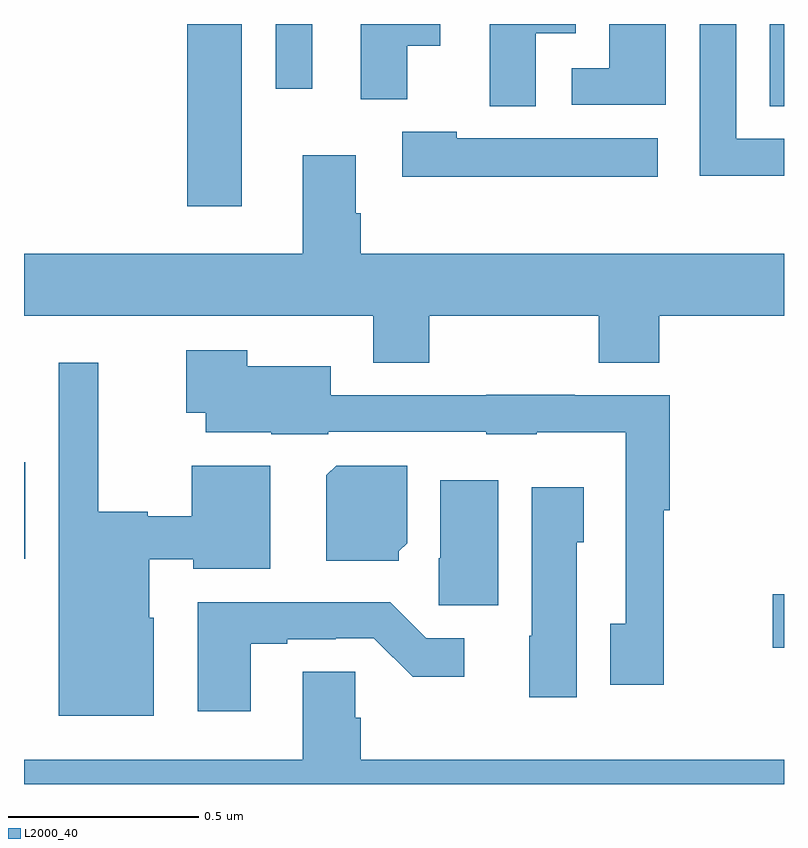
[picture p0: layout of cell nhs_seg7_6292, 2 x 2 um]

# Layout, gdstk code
import gdstk
lib = gdstk.Library(unit=1e-6, precision=1e-09)
def R(c, l, rs):  # rectangles x0, y0, x1, y1
    for r in rs: c.add(gdstk.rectangle(r[:2], r[2:], *l))
def P(c, l, *ps):  # polygons
    for p in ps: c.add(gdstk.Polygon(p, *l))
L2000_40 = (2000, 40)

nhs_seg7_6292 = lib.new_cell('nhs_seg7_6292')
R(nhs_seg7_6292, L2000_40, [(197.97,1050.358,198,1050.5), (196,1050.593,196.003,1050.847), (196.43,1051.521,196.573,1052), (197.963,1051.783,198,1052), (196.662,1051.83,196.758,1052)])
P(nhs_seg7_6292, L2000_40, [(198,1051.698),(197.874,1051.698),(197.874,1052),(197.778,1052),(197.778,1051.601),(198,1051.601)],
  [(197.689,1052),(197.54,1052),(197.54,1051.884),(197.442,1051.884),(197.442,1051.788),(197.689,1051.788)],
  [(197.008,1051.943),(197.095,1051.943),(197.095,1052),(196.886,1052),(196.886,1051.802),(197.008,1051.802)],
  [(197.347,1051.976),(197.452,1051.976),(197.452,1052),(197.225,1052),(197.225,1051.784),(197.347,1051.784)],
  [(197.668,1051.699),(197.139,1051.699),(197.139,1051.717),(196.995,1051.717),(196.995,1051.598),(197.668,1051.598)],
  [(197.067,1051.232),(197.512,1051.232),(197.512,1051.108),(197.672,1051.108),(197.672,1051.232),(198,1051.232),(198,1051.396),(196.886,1051.396),(196.886,1051.502),(196.873,1051.502),(196.873,1051.654),(196.733,1051.654),(196.733,1051.396),(196,1051.396),(196,1051.232),(196.919,1051.232),(196.919,1051.108),(197.067,1051.108)],
  [(197.684,1050.72),(197.699,1050.72),(197.699,1051.023),(197.449,1051.023),(197.449,1051.025),(197.217,1051.025),(197.217,1051.023),(196.807,1051.023),(196.807,1051.099),(196.588,1051.099),(196.588,1051.141),(196.427,1051.141),(196.427,1050.977),(196.478,1050.977),(196.478,1050.926),(196.65,1050.926),(196.65,1050.92),(196.8,1050.92),(196.8,1050.927),(197.217,1050.927),(197.217,1050.92),(197.349,1050.92),(197.349,1050.926),(197.583,1050.926),(197.583,1050.422),(197.543,1050.422),(197.543,1050.261),(197.684,1050.261)],
  [(196.342,1050.438),(196.33,1050.438),(196.33,1050.591),(196.446,1050.591),(196.446,1050.566),(196.648,1050.566),(196.648,1050.838),(196.442,1050.838),(196.442,1050.705),(196.326,1050.705),(196.326,1050.716),(196.195,1050.716),(196.195,1051.108),(196.091,1051.108),(196.091,1050.179),(196.342,1050.179)],
  [(196.986,1050.612),(197.008,1050.634),(197.008,1050.838),(196.822,1050.838),(196.796,1050.812),(196.796,1050.587),(196.986,1050.587)],
  [(197.248,1050.799),(197.096,1050.799),(197.096,1050.594),(197.092,1050.594),(197.092,1050.471),(197.248,1050.471)],
  [(197.455,1050.636),(197.473,1050.636),(197.473,1050.781),(197.336,1050.781),(197.336,1050.39),(197.33,1050.39),(197.33,1050.228),(197.455,1050.228)],
  [(196.597,1050.369),(196.693,1050.369),(196.693,1050.381),(196.82,1050.381),(196.82,1050.384),(196.92,1050.384),(197.023,1050.282),(197.158,1050.282),(197.158,1050.384),(197.058,1050.384),(196.964,1050.478),(196.457,1050.478),(196.457,1050.192),(196.597,1050.192)],
  [(196.872,1050.174),(196.872,1050.296),(196.733,1050.296),(196.733,1050.064),(196,1050.064),(196,1050),(198,1050),(198,1050.064),(196.886,1050.064),(196.886,1050.174)])

lib.write_gds('nhs_seg7_6292.gds')
